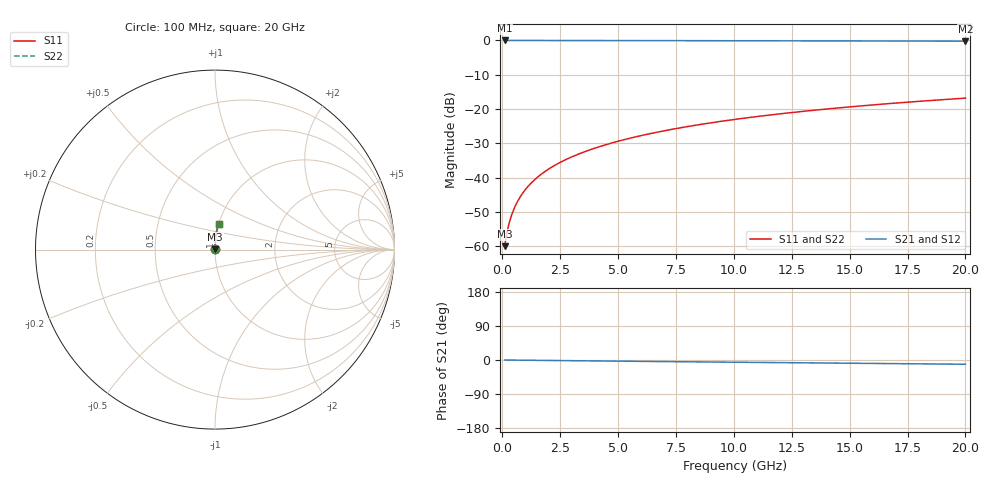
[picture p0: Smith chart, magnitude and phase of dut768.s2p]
! Touchstone file exported from HFSS 2024.1.0
!  File:  C:/UserFiles/LocalFiles/RDL_TSV_Batchsim/temp_RDL_bottom_768_1779860532.aedt
!  Generated:  01:44:43 PM May 27, 2026
!  Design:  RDL_bottom
!  Project:  temp_RDL_bottom_768_1779860532
!  Setup:  Setup1
!  Solution:  Sweep
! Variables:
!  dtsv = 10.80580581um
!  hbump = 3um
!  htsv = 86.71um
!  ldown = 103.67um
!  lrdl = 100um
!  p = 40
!  p1 = 57.75um
!  rhole = 1um
!  t = 450um
!  tdown = 3.54um
!  trdl = 3.915915916um
!  wdown = 21.14um
!  wrdl = 20um
# GHz S MA R 50.000000
! Terminal data exported
! Port[1] = RDL1_T1
! Port[2] = RDL1_T2
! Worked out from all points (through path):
!   200 points, 100 MHz to 20 GHz, reference 50 ohm
!   highest |S21| = -0.01 dB at 100 MHz (marker M1); lowest = -0.2 dB at 20 GHz (marker M2)
!   group delay of S21, straight-line fit = 1.54 ps
!   lowest |S11| = -60.0 dB at 100 MHz (marker M3), VSWR 1.00, Z = 50.1 + j0.0699 ohm
!   |S11| at or under -10 dB: start of sweep to end of sweep
!   |S22| runs from -60.0 to -16.8 dB; largest |S21 - S12| = 6.5e-15
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0.1  0.0009974 44.4  0.9993 -0.1  0.9993 -0.1  0.0009974 44.4
! Gamma 0 0 0 0
! Port Impedance 50 0 50 0
0.2  0.001567 62.0  0.9993 -0.1  0.9993 -0.1  0.001567 62.0
0.3  0.00219 69.6  0.9992 -0.2  0.9992 -0.2  0.00219 69.6
0.4  0.002825 73.9  0.9992 -0.3  0.9992 -0.3  0.002825 73.9
0.5  0.003463 76.7  0.9992 -0.3  0.9992 -0.3  0.003463 76.7
0.6  0.004105 78.6  0.9991 -0.4  0.9991 -0.4  0.004105 78.6
0.8  0.005396 81.3  0.9991 -0.5  0.9991 -0.5  0.005396 81.3
1.1  0.007349 83.6  0.999 -0.7  0.999 -0.7  0.007349 83.6
1.5  0.009976 85.4  0.9988 -0.9  0.9988 -0.9  0.009976 85.4
1.8  0.01196 86.2  0.9986 -1.1  0.9986 -1.1  0.01196 86.2
2.1  0.01396 86.9  0.9985 -1.3  0.9985 -1.3  0.01396 86.9
2.7  0.01798 87.7  0.998 -1.7  0.998 -1.7  0.01798 87.7
3.5  0.02342 88.3  0.9973 -2.2  0.9973 -2.2  0.02342 88.3
4.2  0.02824 88.7  0.9966 -2.6  0.9966 -2.6  0.02824 88.7
5  0.03383 88.8  0.9958 -3.0  0.9958 -3.0  0.03383 88.8
5.9  0.04022 88.8  0.9947 -3.6  0.9947 -3.6  0.04022 88.8
6.8  0.04669 88.7  0.9936 -4.1  0.9936 -4.1  0.04669 88.7
8.3  0.05763 88.2  0.9917 -4.9  0.9917 -4.9  0.05763 88.2
10.1  0.07091 87.4  0.9894 -5.9  0.9894 -5.9  0.07091 87.4
13.4  0.09543 85.6  0.9853 -7.7  0.9853 -7.7  0.09543 85.6
16.7  0.1198 83.6  0.981 -9.5  0.981 -9.5  0.1199 83.6
20  0.144 81.6  0.9766 -11.2  0.9766 -11.2  0.144 81.6
